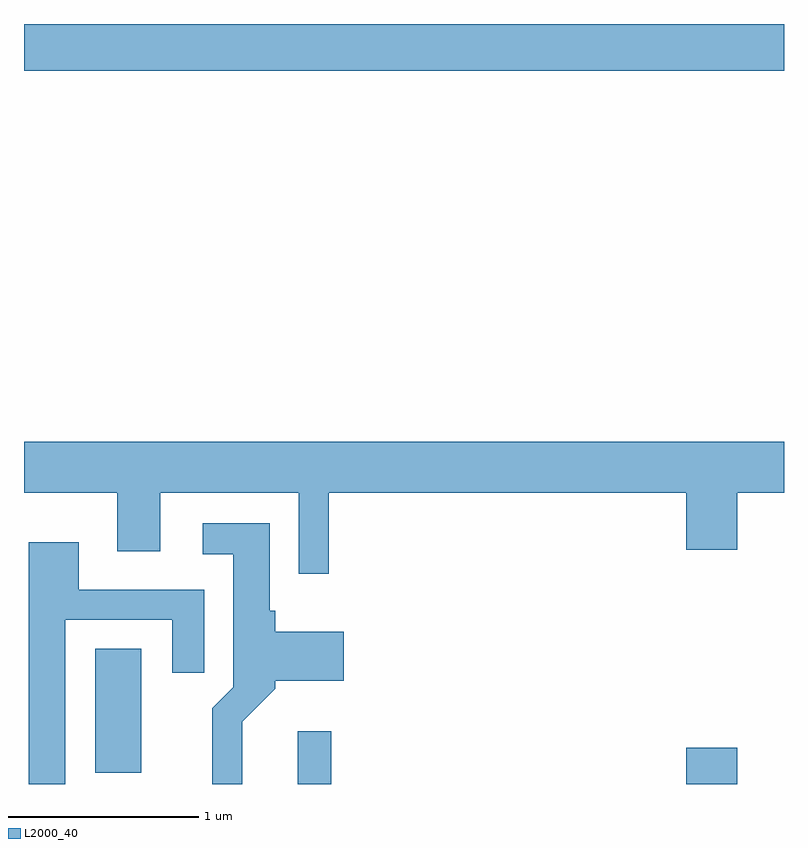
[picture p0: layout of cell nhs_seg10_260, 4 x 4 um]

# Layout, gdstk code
import gdstk
lib = gdstk.Library(unit=1e-6, precision=1e-09)
def R(c, l, rs):  # rectangles x0, y0, x1, y1
    for r in rs: c.add(gdstk.rectangle(r[:2], r[2:], *l))
def P(c, l, *ps):  # polygons
    for p in ps: c.add(gdstk.Polygon(p, *l))
L2000_40 = (2000, 40)

nhs_seg10_260 = lib.new_cell('nhs_seg10_260')
R(nhs_seg10_260, L2000_40, [(193.051,2194.522,193.229,2194.799), (195.096,2194.522,195.364,2194.714), (191.986,2194.581,192.229,2195.234), (191.611,2198.276,195.611,2198.522)])
P(nhs_seg10_260, L2000_40, [(193.214,2196.056),(195.096,2196.056),(195.096,2195.756),(195.364,2195.756),(195.364,2196.056),(195.611,2196.056),(195.611,2196.324),(191.611,2196.324),(191.611,2196.056),(192.101,2196.056),(192.101,2195.746),(192.329,2195.746),(192.329,2196.056),(193.056,2196.056),(193.056,2195.628),(193.214,2195.628)],
  [(192.759,2194.849),(192.934,2195.024),(192.934,2195.066),(193.294,2195.066),(193.294,2195.324),(192.934,2195.324),(192.934,2195.434),(192.904,2195.434),(192.904,2195.894),(192.553,2195.894),(192.553,2195.731),(192.711,2195.731),(192.711,2195.032),(192.601,2194.922),(192.601,2194.522),(192.759,2194.522)],
  [(191.829,2195.386),(192.391,2195.386),(192.391,2195.108),(192.559,2195.108),(192.559,2195.544),(191.899,2195.544),(191.899,2195.794),(191.636,2195.794),(191.636,2194.522),(191.829,2194.522)])

lib.write_gds('nhs_seg10_260.gds')
